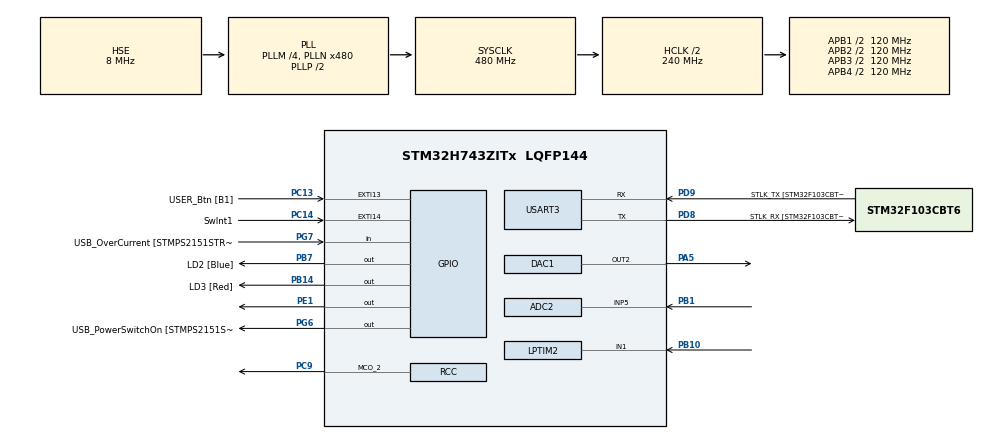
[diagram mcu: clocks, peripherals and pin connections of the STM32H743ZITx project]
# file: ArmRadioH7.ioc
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ADC1.Channel-4\#ChannelRegularConversion=ADC_CHANNEL_5
ADC1.ClockPrescaler=ADC_CLOCK_ASYNC_DIV2
ADC1.ContinuousConvMode=ENABLE
ADC1.ConversionDataManagement=ADC_CONVERSIONDATA_DMA_CIRCULAR
ADC1.DMAAccessModeView=ENABLE
ADC1.EnableRegularConversion=ENABLE
ADC1.Mode=ADC_DUALMODE_INTERL
ADC1.NbrOfConversionFlag=1
ADC1.OffsetNumber-4\#ChannelRegularConversion=ADC_OFFSET_NONE
ADC1.Overrun=ADC_OVR_DATA_OVERWRITTEN
ADC1.Rank-4\#ChannelRegularConversion=1
ADC1.Resolution=ADC_RESOLUTION_12B
ADC1.SamplingTime-4\#ChannelRegularConversion=ADC_SAMPLETIME_1CYCLE_5
ADC1.TwoSamplingDelay=ADC_TWOSAMPLINGDELAY_2CYCLES
ADC1.master=1
ADC2.Channel-4\#ChannelRegularConversion=ADC_CHANNEL_5
ADC2.ClockPrescaler=ADC_CLOCK_ASYNC_DIV2
ADC2.ConversionDataManagement=ADC_CONVERSIONDATA_DR
ADC2.DMAAccessModeView=ENABLE
ADC2.EnableRegularConversion=ENABLE
ADC2.Mode=ADC_DUALMODE_INTERL
ADC2.NbrOfConversionFlag=1
ADC2.OffsetNumber-4\#ChannelRegularConversion=ADC_OFFSET_NONE
ADC2.Overrun=ADC_OVR_DATA_PRESERVED
ADC2.Rank-4\#ChannelRegularConversion=1
ADC2.Resolution=ADC_RESOLUTION_12B
ADC2.SamplingTime-4\#ChannelRegularConversion=ADC_SAMPLETIME_1CYCLE_5
ADC2.TwoSamplingDelay=ADC_TWOSAMPLINGDELAY_2CYCLES
CORTEX_M7.CPU_DCache=Disabled
CORTEX_M7.CPU_ICache=Disabled
DAC1.DAC_Channel-DAC_OUT2=DAC_CHANNEL_2
DAC1.DAC_Trigger-DAC_OUT2=DAC_TRIGGER_T6_TRGO
Dma.ADC1.1.Direction=DMA_PERIPH_TO_MEMORY
Dma.ADC1.1.EventEnable=DISABLE
Dma.ADC1.1.FIFOMode=DMA_FIFOMODE_DISABLE
Dma.ADC1.1.Instance=DMA1_Stream0
Dma.ADC1.1.MemDataAlignment=DMA_MDATAALIGN_WORD
Dma.ADC1.1.MemInc=DMA_MINC_ENABLE
Dma.ADC1.1.Mode=DMA_CIRCULAR
Dma.ADC1.1.PeriphDataAlignment=DMA_PDATAALIGN_WORD
Dma.ADC1.1.PeriphInc=DMA_PINC_DISABLE
Dma.ADC1.1.Polarity=HAL_DMAMUX_REQ_GEN_RISING
Dma.ADC1.1.Priority=DMA_PRIORITY_HIGH
Dma.ADC1.1.RequestNumber=1
Dma.ADC1.1.SignalID=NONE
Dma.ADC1.1.SyncEnable=DISABLE
Dma.ADC1.1.SyncPolarity=HAL_DMAMUX_SYNC_NO_EVENT
Dma.ADC1.1.SyncRequestNumber=1
Dma.ADC1.1.SyncSignalID=NONE
Dma.DAC1_CH2.0.Direction=DMA_MEMORY_TO_PERIPH
Dma.DAC1_CH2.0.EventEnable=DISABLE
Dma.DAC1_CH2.0.FIFOMode=DMA_FIFOMODE_DISABLE
Dma.DAC1_CH2.0.Instance=DMA1_Stream1
Dma.DAC1_CH2.0.MemDataAlignment=DMA_MDATAALIGN_HALFWORD
Dma.DAC1_CH2.0.MemInc=DMA_MINC_ENABLE
Dma.DAC1_CH2.0.Mode=DMA_CIRCULAR
Dma.DAC1_CH2.0.PeriphDataAlignment=DMA_PDATAALIGN_HALFWORD
Dma.DAC1_CH2.0.PeriphInc=DMA_PINC_DISABLE
Dma.DAC1_CH2.0.Polarity=HAL_DMAMUX_REQ_GEN_RISING
Dma.DAC1_CH2.0.Priority=DMA_PRIORITY_LOW
Dma.DAC1_CH2.0.RequestNumber=1
Dma.DAC1_CH2.0.SignalID=NONE
Dma.DAC1_CH2.0.SyncEnable=DISABLE
Dma.DAC1_CH2.0.SyncPolarity=HAL_DMAMUX_SYNC_NO_EVENT
Dma.DAC1_CH2.0.SyncRequestNumber=1
Dma.DAC1_CH2.0.SyncSignalID=NONE
Dma.Request0=DAC1_CH2
Dma.Request1=ADC1
Mcu.Family=STM32H7
Mcu.Name=STM32H743ZITx
Mcu.Package=LQFP144
NVIC.DMA1_Stream0_IRQn=true\:0\:0\:false\:false\:true\:false\:true
NVIC.DMA1_Stream1_IRQn=true\:2\:0\:true\:false\:true\:false\:true
NVIC.EXTI15_10_IRQn=true\:4\:0\:true\:false\:true\:true\:true
NVIC.PriorityGroup=NVIC_PRIORITYGROUP_4
NVIC.TIM6_DAC_IRQn=true\:1\:0\:true\:false\:true\:true\:true
NVIC.USART3_IRQn=true\:1\:0\:true\:false\:true\:true\:true
PA1.GPIO_Label=RMII_REF_CLK
PA1.Signal=ETH_REF_CLK
PA10.GPIO_Label=USB_ID
PA10.Signal=USB_OTG_FS_ID
PA11.GPIO_Label=USB_DM
PA11.Signal=USB_OTG_FS_DM
PA12.GPIO_Label=USB_DP
PA12.Signal=USB_OTG_FS_DP
PA2.GPIO_Label=RMII_MDIO
PA2.Signal=ETH_MDIO
PA5.Signal=COMP_DAC12_group
PA7.GPIO_Label=RMII_CRS_DV
PA7.Signal=ETH_CRS_DV
PA8.GPIO_Label=USB_SOF [TP1]
PA8.Signal=USB_OTG_FS_SOF
PA9.GPIO_Label=USB_VBUS
PA9.Signal=USB_OTG_FS_VBUS
PB1.Signal=ADCx_INP5
PB10.Mode=Counts_external_clock_with_synchro_01_occur1
PB10.Signal=LPTIM2_IN1
PB13.GPIO_Label=RMII_TXD1
PB13.Signal=ETH_TXD1
PB14.GPIO_Label=LD3 [Red]
PB14.Signal=GPIO_Output
PB7.GPIO_Label=LD2 [Blue]
PB7.Signal=GPIO_Output
PC1.GPIO_Label=RMII_MDC
PC1.Signal=ETH_MDC
PC13.GPIO_Label=USER_Btn [B1]
PC13.Signal=GPXTI13
PC14-OSC32_IN\ (OSC32_IN).GPIO_Label=SwInt1
PC14-OSC32_IN\ (OSC32_IN).GPIO_PuPd=GPIO_PULLUP
PC14-OSC32_IN\ (OSC32_IN).Signal=GPXTI14
PC4.GPIO_Label=RMII_RXD0
PC4.Signal=ETH_RXD0
PC5.GPIO_Label=RMII_RXD1
PC5.Signal=ETH_RXD1
PC9.GPIO_Speed=GPIO_SPEED_FREQ_LOW
PC9.Mode=Clock-out-2
PC9.Signal=RCC_MCO_2
PD8.GPIO_Label=STLK_RX [STM32F103CBT6_PA3]
PD8.Mode=Asynchronous
PD8.Signal=USART3_TX
PD9.GPIO_Label=STLK_TX [STM32F103CBT6_PA2]
PD9.Mode=Asynchronous
PD9.Signal=USART3_RX
PE1.Signal=GPIO_Output
PE15.Signal=GPXTI15
PE8.Signal=OPAMP2_VINM0
PG11.GPIO_Label=RMII_TX_EN
PG11.Signal=ETH_TX_EN
PG13.GPIO_Label=RMII_TXD0
PG13.Signal=ETH_TXD0
PG6.GPIO_Label=USB_PowerSwitchOn [STMPS2151STR_EN]
PG6.Signal=GPIO_Output
PG7.GPIO_Label=USB_OverCurrent [STMPS2151STR_FAULT]
PG7.Signal=GPIO_Input
PH0-OSC_IN\ (PH0).GPIO_Label=MCO
PH0-OSC_IN\ (PH0).Mode=HSE-External-Oscillator
PH0-OSC_IN\ (PH0).Signal=RCC_OSC_IN
PH1-OSC_OUT\ (PH1).Mode=HSE-External-Oscillator
PH1-OSC_OUT\ (PH1).Signal=RCC_OSC_OUT
ProjectManager.HeapSize=0x200
ProjectManager.StackSize=0x400
ProjectManager.TargetToolchain=STM32CubeIDE
RCC.48MHZClocksFreq_Value=24000000
RCC.ADCCLockSelection=RCC_ADCCLKSOURCE_PLL3
RCC.ADCFreq_Value=240000000
RCC.AHBFreq_Value=216000000
RCC.APB1CLKDivider=RCC_HCLK_DIV4
RCC.APB1Freq_Value=120000000
RCC.APB1TimFreq_Value=108000000
RCC.APB2CLKDivider=RCC_HCLK_DIV2
RCC.APB2Freq_Value=120000000
RCC.APB2TimFreq_Value=216000000
RCC.APB3Freq_Value=120000000
RCC.APB4Freq_Value=120000000
RCC.CortexFreq_Value=480000000
RCC.D1PPRE=RCC_APB3_DIV2
RCC.D2PPRE1=RCC_APB1_DIV2
RCC.D2PPRE2=RCC_APB2_DIV2
RCC.D3PPRE=RCC_APB4_DIV2
RCC.DIVM1=4
RCC.DIVM2=4
RCC.DIVM3=4
RCC.DIVN1=480
RCC.DIVN2=240
RCC.DIVN3=240
RCC.DIVP2=16
RCC.DIVQ1=4
RCC.HCLKFreq_Value=240000000
RCC.HPRE=RCC_HCLK_DIV2
RCC.HSE_VALUE=8000000
RCC.HSI_VALUE=64000000
RCC.LPTIM2CLockSelection=RCC_LPTIM2CLKSOURCE_PLL2
RCC.PLL2FRACN=2000
RCC.PLL3FRACN=0
RCC.PLLFRACN=0
RCC.PLLM=25
RCC.PLLMUL=RCC_PLL_MUL9
RCC.PLLN=432
RCC.PLLQ=9
RCC.PLLSourceVirtual=RCC_PLLSOURCE_HSE
RCC.PRESCALERUSB=RCC_USBCLKSOURCE_PLL_DIV1_5
RCC.PWR_Regulator_Voltage_Scale=PWR_REGULATOR_VOLTAGE_SCALE0
RCC.RCC_MCO2Source=RCC_MCO2SOURCE_PLL2PCLK
RCC.RCC_MCODiv2=RCC_MCODIV_10
RCC.SYSCLKFreq_VALUE=480000000
RCC.SYSCLKSource=RCC_SYSCLKSOURCE_PLLCLK
RCC.SYSCLKSourceVirtual=RCC_SYSCLKSOURCE_PLLCLK
RCC.USBFreq_Value=240000000
RCC.VCOOutputFreq_Value=432000000
SH.ADCx_INP5.0=ADC2_INP5,IN5-Single-Ended
SH.ADCx_INP5.1=ADC1_INP5,IN5-Single-Ended
SH.COMP_DAC12_group.0=DAC1_OUT2,DAC_OUT2
TIM6.AutoReloadPreload=TIM_AUTORELOAD_PRELOAD_ENABLE
TIM6.Period=8191
TIM6.Prescaler=0
TIM6.TIM_MasterOutputTrigger=TIM_TRGO_UPDATE
USART3.DMADisableonRxErrorParam=ADVFEATURE_DMA_ENABLEONRXERROR
USART3.FIFOMode=FIFOMODE_DISABLE
USART3.OverrunDisableParam=ADVFEATURE_OVERRUN_ENABLE
USART3.VirtualMode-Asynchronous=VM_ASYNC
VP_TIM6_VS_ClockSourceINT.Mode=Enable_Timer
board=NUCLEO-H743ZI

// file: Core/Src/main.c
/* USER CODE BEGIN Header */
/**
 *******************************************************************************

                   main.c module of the program ARM_Radio

                                                  Copyright 2015 by Alberto I2PHD, June 2015

    This file is part of ARM_Radio.

    ARM_Radio is free software: you can redistribute it and/or modify
    it under the terms of the GNU General Public License as published by
    the Free Software Foundation, either version 3 of the License, or
    (at your option) any later version.

    ARM_Radio is distributed in the hope that it will be useful,
    but WITHOUT ANY WARRANTY; without even the implied warranty of
    MERCHANTABILITY or FITNESS FOR A PARTICULAR PURPOSE.  See the
    GNU General Public License for more details.

    You should have received a copy of the GNU General Public License
    along with ARM_Radio.  It is contained in the file Copying.txt in the
    same ZIP file where this file was extracted from.

 *******************************************************************************
 ******************************************************************************
 * @file           : main.c
 * @brief          : Main program body
 ******************************************************************************
 * @attention
 *
 * <h2><center>&copy; Copyright (c) 2020 STMicroelectronics.
 * All rights reserved.</center></h2>
 *
 * This software component is licensed by ST under BSD 3-Clause license,
 * the "License"; You may not use this file except in compliance with the
 * License. You may obtain a copy of the License at:
 *                        opensource.org/licenses/BSD-3-Clause
 *
 ******************************************************************************
  FAQ about cache https://community.st.com/s/article/FAQ-DMA-is-not-working-on-STM32H7-devices
  FPU performance https://community.arm.com/developer/ip-products/processors/f/cortex-m-forum/5567/what-is-the-advantage-of-floating-point-of-cm7-versus-cm4
  CIC filter decomposition: https://www.embedded.com/reducing-power-consumption-in-cic-filter-algorithm-designs/
  NCO https://www.embedded.com/configuring-a-well-behaved-digital-quadrature-oscillator/
  DMA, Cache https://hackaday.io/project/117555-network-analyzer-on-an-stm32h7/details
  FFT Filters https://www.danvillesignal.com/images/pdfs/compdsp_Borgerding_FFT_slides2.pdf http://dsp-book.narod.ru/DSPMW/08.PDF
  Measuring inductance https://daycounter.com/Articles/How-To-Measure-Inductance.phtml
  RF Filters https://rf-tools.com/lc-filter/

  MCO2 output is pin PC9, CN8 pin 4.
 */

#define IN_MAIN

/* USER CODE END Header */

#include "main.h"

/* USER CODE BEGIN Includes */
#include "stdio.h"
#include "Globals.h"
#include "FIRcoefs.h"

/* USER CODE END Includes */

/* USER CODE BEGIN PM */

/**
 * @brief  Computation of ADC master conversion result
 *         from ADC dual mode conversion result (ADC master and ADC slave
 *         results concatenated on data register of ADC master).
 * @param  DATA: ADC dual mode conversion result
 * @retval None
 */
#define COMPUTATION_DUALMODEINTERLEAVED_ADCMASTER_RESULT(DATA)                 \
		((DATA) & 0x0000FFFF)

/**
 * @brief  Computation of ADC slave conversion result
 *         from ADC dual mode conversion result (ADC master and ADC slave
 *         results concatenated on data register of ADC master).
 * @param  DATA: ADC dual mode conversion result
 * @retval None
 */
#define COMPUTATION_DUALMODEINTERLEAVED_ADCSLAVE_RESULT(DATA)                  \
		((DATA) >> 16)

/* USER CODE END PM */

ADC_HandleTypeDef hadc1;
ADC_HandleTypeDef hadc2;
DMA_HandleTypeDef hdma_adc1;

DAC_HandleTypeDef hdac1;
DMA_HandleTypeDef hdma_dac1_ch2;

LPTIM_HandleTypeDef hlptim2;

TIM_HandleTypeDef htim6;

UART_HandleTypeDef huart3;

/* USER CODE BEGIN PV */

/* Variable containing ADC conversions results */
ALIGN_32BYTES(__IO uint32_t   aADCDualConvertedValues[BSIZE]);    /* ADC dual mode interleaved conversion results (ADC master and ADC slave results concatenated on data register 32 bits of ADC master). */
ALIGN_32BYTES(__IO uint16_t   aADCxConvertedValues[BSIZE]);       /* For the purpose of this example, dispatch dual conversion values into arrays corresponding to each ADC conversion values. */
ALIGN_32BYTES(__IO uint16_t   aADCyConvertedValues[BSIZE]);       /* For the purpose of this example, dispatch dual conversion values into arrays corresponding to each ADC conversion values. */
ALIGN_32BYTES(__IO short AudioOut[BSIZE*2]);			  // A single array because we are using the half/full complete irq to switch between the two halves

uint8_t         ubADCDualConversionComplete = RESET;                        /* Set into ADC conversion complete callback */

const uint16_t sine_wave_array[32] = {2047, 1648, 1264, 910, 600,  345,
		156, 39,  0,  39,  156,  345,
		600, 910, 1264, 1648, 2048, 2447,
		2831, 3185, 3495, 3750, 3939, 4056,
		4095, 4056, 3939, 3750, 3495, 3185,
		2831, 2447};

char UartTXString[256];
char UartRXString[256];
__IO ITStatus UartRXDataReady = RESET;
__IO ITStatus UartTXFinished = RESET;
/* USER CODE END PV */

void SystemClock_Config(void);
static void MX_GPIO_Init(void);
static void MX_DMA_Init(void);
static void MX_ADC1_Init(void);
static void MX_ADC2_Init(void);
static void MX_DAC1_Init(void);
static void MX_TIM6_Init(void);
static void MX_USART3_UART_Init(void);
static void MX_LPTIM2_Init(void);

int main(void)
{

  /* MCU Configuration--------------------------------------------------------*/

  /* Reset of all peripherals, Initializes the Flash interface and the Systick. */
  HAL_Init();

  /* USER CODE BEGIN Init */
	//We use our clock init function and we prevent the use of the STM32Cube tool generated one. Not possible to overclock with it.
#ifdef EXECUTE_CUBE_CLOCK_INIT
  /* USER CODE END Init */

  /* Configure the system clock */
  SystemClock_Config();

  /* USER CODE BEGIN SysInit */
#endif

	/* Enable I-Cache---------------------------------------------------------*/
	SCB_EnableICache();

	/* Enable D-Cache---------------------------------------------------------*/
#ifdef USE_DCACHE
	SCB_EnableDCache();
#endif

	// Don't forget to set a different SamplingRate in main.c
	SystemClock_Config_For_OC();

  /* USER CODE END SysInit */

  /* Initialize all configured peripherals */
  MX_GPIO_Init();
  MX_DMA_Init();
  MX_ADC1_Init();
  MX_ADC2_Init();
  MX_DAC1_Init();
  MX_TIM6_Init();
  MX_USART3_UART_Init();
  MX_LPTIM2_Init();
  /* USER CODE BEGIN 2 */
	// Initialise again so we can change divider with a #define in main.h
	MX_TIM6_Init_Custom_Rate();

	/* Run the ADC calibration in single-ended mode */
	if (HAL_ADCEx_Calibration_Start(&hadc1, ADC_CALIB_OFFSET, ADC_SINGLE_ENDED) != HAL_OK)
	{
		/* Calibration Error */
		Error_Handler();
	}

	if (HAL_ADCEx_Calibration_Start(&hadc2, ADC_CALIB_OFFSET, ADC_SINGLE_ENDED) != HAL_OK)
	{
		/* Calibration Error */
		Error_Handler();
	}

	volume= 0.1;

	// Set now the default values for some variables
	SetFstep(2);
	cwpitch = CWPITCH;
	os_time = 0;
	meanavg = 0.f;
	Qfactor = 0.987f;         // Q factor for the CW peak filter
	Muted   = false;
	AMindex  = LSBindex = 1;
	USBindex = CWindex  = 1;
	bw[AM]   = bw[LSB]  = Wide;
	bw[USB]  = bw[CW]   = Wide;
	agc[AM]  = agc[LSB] = Slow;
	agc[USB] = Slow;
	agc[CW]  = Fast;
	AGC_decay[Fast] = 0.9995f;
	AGC_decay[Slow] = 0.99995f;
	Hangcount[Fast] = 2;
	Hangcount[Slow] = 30;
	AgcThreshold    = 1.92e-4f;

#ifdef CLK_600M_CPU_150M_ADC
	SamplingRate = ((150000000) / 4) * 2 / 8.f;//ADC Clock /async div * 2 ADC channels /8 cycles for 12 bit ADC
#endif
#ifdef CLK_500M_CPU_120M_ADC
	SamplingRate = ((120000000) / 4) * 2 / 8.f;//ADC Clock /async div * 2 ADC channels /8 cycles for 12 bit ADC
#endif
#ifdef CLK_500M_CPU_128M_ADC
	SamplingRate = ((128000000) / 4) * 2 / 8.f;//ADC Clock /async div * 2 ADC channels /8 cycles for 12 bit ADC
#endif
#ifdef CLK_480M_CPU_120M_ADC
	SamplingRate = ((120000000) / 4) * 2 / 8.f;//ADC Clock /async div * 2 ADC channels /8 cycles for 12 bit ADC
#endif
#ifdef CLK_600M_CPU_60M_ADC
	SamplingRate = ((60000000) / 4) * 2 / 8.f;//ADC Clock /async div * 2 ADC channels /8 cycles for 12 bit ADC
#endif
#ifdef CLK_600M_CPU_160M_ADC
	SamplingRate = ((160000000) / 4) * 2 / 8.f;//ADC Clock /async div * 2 ADC channels /8 cycles for 12 bit ADC
#endif

	SamplingRate = SamplingRate * 4000000.f / 3999300.f; // Correct Xtal error

	AudioRate = SamplingRate / 4 /16.f / 4.f; //First decimation was 16, now is 64
	SDR_compute_IIR_parms();  // compute the IIR parms for the CW peak filter

	// init the decimating FIR control blocks
	arc = arm_fir_decimate_init_f32(&SfirR, NUMFIRCOEFS, 4, FIRcoefs, FIRstate1R, BSIZE*4);
	while(arc != ARM_MATH_SUCCESS)
	{};   // spin loop if error
	arc = arm_fir_decimate_init_f32(&SfirI, NUMFIRCOEFS, 4, FIRcoefs, FIRstate1I, BSIZE*4);
	while(arc != ARM_MATH_SUCCESS)
	{};   // spin loop if error

	Load_Presets();
	Tune_Preset(1);      // Set the initial tuning to Preset 1

	DisplayStatus();    // Display status, it would not be shown until a user input was given
	if (HAL_ADCEx_MultiModeStart_DMA(&hadc1,
			(uint32_t *)aADCDualConvertedValues,
			BSIZE   //Source code says transfer size is in bytes, but it is in number of transfers
	) != HAL_OK)
	{
		/* Start Error */
		Error_Handler();
	}

	///////////////
	HAL_TIM_Base_Start(&htim6);
	HAL_DAC_Start(&hdac1, DAC_CHANNEL_2);
	HAL_DAC_Start_DMA(&hdac1, DAC_CHANNEL_2, (uint32_t*)AudioOut, BSIZE * 2, DAC_ALIGN_12B_R);
	///////

/*		 __HAL_RCC_PLL2_DISABLE();
		__HAL_RCC_PLL2_CONFIG(4, 144, 24, 2, 2);
		 __HAL_RCC_PLL2_ENABLE();
		 __HAL_RCC_PLL2FRACN_CONFIG(1013); // 0-8191, can be issued at any time
*/
  /* USER CODE END 2 */

  /* Infinite loop */
  /* USER CODE BEGIN WHILE */
		 SetFOut(11000000);

	while (1)
	{
    /* USER CODE END WHILE */

    /* USER CODE BEGIN 3 */
		/* Turn-on/off LED1 in function of ADC conversion result */
		/*  - Turn-off if ADC conversions buffer is not complete */
		/*  - Turn-on if ADC conversions buffer is complete */

		/* ADC conversion buffer complete variable is updated into ADC conversions*/
		/* complete callback.*/

		UserInput();
		//	  HAL_Delay(10);
		if (ubADCDualConversionComplete == RESET)
		{
			//	    	HAL_GPIO_WritePin(GPIOB, GPIO_PIN_7, GPIO_PIN_SET);
		}
		else
		{
			//	    	HAL_GPIO_WritePin(GPIOB, GPIO_PIN_7, GPIO_PIN_RESET);
		}

	}
  /* USER CODE END 3 */
}

void SystemClock_Config(void)
{
  RCC_OscInitTypeDef RCC_OscInitStruct = {0};
  RCC_ClkInitTypeDef RCC_ClkInitStruct = {0};
  RCC_PeriphCLKInitTypeDef PeriphClkInitStruct = {0};

  /** Supply configuration update enable
  */
  HAL_PWREx_ConfigSupply(PWR_LDO_SUPPLY);
  /** Configure the main internal regulator output voltage
  */
  __HAL_PWR_VOLTAGESCALING_CONFIG(PWR_REGULATOR_VOLTAGE_SCALE0);

  while(!__HAL_PWR_GET_FLAG(PWR_FLAG_VOSRDY)) {}
  /** Macro to configure the PLL clock source
  */
  __HAL_RCC_PLL_PLLSOURCE_CONFIG(RCC_PLLSOURCE_HSE);
  /** Initializes the CPU, AHB and APB busses clocks
  */
  RCC_OscInitStruct.OscillatorType = RCC_OSCILLATORTYPE_HSE;
  RCC_OscInitStruct.HSEState = RCC_HSE_ON;
  RCC_OscInitStruct.PLL.PLLState = RCC_PLL_ON;
  RCC_OscInitStruct.PLL.PLLSource = RCC_PLLSOURCE_HSE;
  RCC_OscInitStruct.PLL.PLLM = 4;
  RCC_OscInitStruct.PLL.PLLN = 480;
  RCC_OscInitStruct.PLL.PLLP = 2;
  RCC_OscInitStruct.PLL.PLLQ = 4;
  RCC_OscInitStruct.PLL.PLLR = 2;
  RCC_OscInitStruct.PLL.PLLRGE = RCC_PLL1VCIRANGE_1;
  RCC_OscInitStruct.PLL.PLLVCOSEL = RCC_PLL1VCOWIDE;
  RCC_OscInitStruct.PLL.PLLFRACN = 0;
  if (HAL_RCC_OscConfig(&RCC_OscInitStruct) != HAL_OK)
  {
    Error_Handler();
  }
  /** Initializes the CPU, AHB and APB busses clocks
  */
  RCC_ClkInitStruct.ClockType = RCC_CLOCKTYPE_HCLK|RCC_CLOCKTYPE_SYSCLK
                              |RCC_CLOCKTYPE_PCLK1|RCC_CLOCKTYPE_PCLK2
                              |RCC_CLOCKTYPE_D3PCLK1|RCC_CLOCKTYPE_D1PCLK1;
  RCC_ClkInitStruct.SYSCLKSource = RCC_SYSCLKSOURCE_PLLCLK;
  RCC_ClkInitStruct.SYSCLKDivider = RCC_SYSCLK_DIV1;
  RCC_ClkInitStruct.AHBCLKDivider = RCC_HCLK_DIV2;
  RCC_ClkInitStruct.APB3CLKDivider = RCC_APB3_DIV2;
  RCC_ClkInitStruct.APB1CLKDivider = RCC_APB1_DIV2;
  RCC_ClkInitStruct.APB2CLKDivider = RCC_APB2_DIV2;
  RCC_ClkInitStruct.APB4CLKDivider = RCC_APB4_DIV2;

  if (HAL_RCC_ClockConfig(&RCC_ClkInitStruct, FLASH_LATENCY_4) != HAL_OK)
  {
    Error_Handler();
  }
  PeriphClkInitStruct.PeriphClockSelection = RCC_PERIPHCLK_USART3|RCC_PERIPHCLK_LPTIM2
                              |RCC_PERIPHCLK_ADC;
  PeriphClkInitStruct.PLL2.PLL2M = 4;
  PeriphClkInitStruct.PLL2.PLL2N = 240;
  PeriphClkInitStruct.PLL2.PLL2P = 16;
  PeriphClkInitStruct.PLL2.PLL2Q = 2;
  PeriphClkInitStruct.PLL2.PLL2R = 2;
  PeriphClkInitStruct.PLL2.PLL2RGE = RCC_PLL2VCIRANGE_1;
  PeriphClkInitStruct.PLL2.PLL2VCOSEL = RCC_PLL2VCOWIDE;
  PeriphClkInitStruct.PLL2.PLL2FRACN = 2000;
  PeriphClkInitStruct.PLL3.PLL3M = 4;
  PeriphClkInitStruct.PLL3.PLL3N = 240;
  PeriphClkInitStruct.PLL3.PLL3P = 2;
  PeriphClkInitStruct.PLL3.PLL3Q = 2;
  PeriphClkInitStruct.PLL3.PLL3R = 2;
  PeriphClkInitStruct.PLL3.PLL3RGE = RCC_PLL3VCIRANGE_1;
  PeriphClkInitStruct.PLL3.PLL3VCOSEL = RCC_PLL3VCOWIDE;
  PeriphClkInitStruct.PLL3.PLL3FRACN = 0;
  PeriphClkInitStruct.Usart234578ClockSelection = RCC_USART234578CLKSOURCE_D2PCLK1;
  PeriphClkInitStruct.Lptim2ClockSelection = RCC_LPTIM2CLKSOURCE_PLL2;
  PeriphClkInitStruct.AdcClockSelection = RCC_ADCCLKSOURCE_PLL3;
  if (HAL_RCCEx_PeriphCLKConfig(&PeriphClkInitStruct) != HAL_OK)
  {
    Error_Handler();
  }
  HAL_RCC_MCOConfig(RCC_MCO2, RCC_MCO2SOURCE_PLL2PCLK, RCC_MCODIV_10);
}

static void MX_ADC1_Init(void)
{

  ADC_MultiModeTypeDef multimode = {0};
  ADC_ChannelConfTypeDef sConfig = {0};

  /** Common config
  */
  hadc1.Instance = ADC1;
  hadc1.Init.ClockPrescaler = ADC_CLOCK_ASYNC_DIV2;
  hadc1.Init.Resolution = ADC_RESOLUTION_12B;
  hadc1.Init.ScanConvMode = ADC_SCAN_DISABLE;
  hadc1.Init.EOCSelection = ADC_EOC_SINGLE_CONV;
  hadc1.Init.LowPowerAutoWait = DISABLE;
  hadc1.Init.ContinuousConvMode = ENABLE;
  hadc1.Init.NbrOfConversion = 1;
  hadc1.Init.DiscontinuousConvMode = DISABLE;
  hadc1.Init.ExternalTrigConv = ADC_SOFTWARE_START;
  hadc1.Init.ExternalTrigConvEdge = ADC_EXTERNALTRIGCONVEDGE_NONE;
  hadc1.Init.ConversionDataManagement = ADC_CONVERSIONDATA_DMA_CIRCULAR;
  hadc1.Init.Overrun = ADC_OVR_DATA_OVERWRITTEN;
  hadc1.Init.LeftBitShift = ADC_LEFTBITSHIFT_NONE;
  hadc1.Init.OversamplingMode = DISABLE;
  if (HAL_ADC_Init(&hadc1) != HAL_OK)
  {
    Error_Handler();
  }
  /** Configure the ADC multi-mode
  */
  multimode.Mode = ADC_DUALMODE_INTERL;
  multimode.DualModeData = ADC_DUALMODEDATAFORMAT_32_10_BITS;
  multimode.TwoSamplingDelay = ADC_TWOSAMPLINGDELAY_2CYCLES;
  if (HAL_ADCEx_MultiModeConfigChannel(&hadc1, &multimode) != HAL_OK)
  {
    Error_Handler();
  }
  /** Configure Regular Channel
  */
  sConfig.Channel = ADC_CHANNEL_5;
  sConfig.Rank = ADC_REGULAR_RANK_1;
  sConfig.SamplingTime = ADC_SAMPLETIME_1CYCLE_5;
  sConfig.SingleDiff = ADC_SINGLE_ENDED;
  sConfig.OffsetNumber = ADC_OFFSET_NONE;
  sConfig.Offset = 0;
  if (HAL_ADC_ConfigChannel(&hadc1, &sConfig) != HAL_OK)
  {
    Error_Handler();
  }

}

static void MX_ADC2_Init(void)
{

  ADC_ChannelConfTypeDef sConfig = {0};

  /** Common config
  */
  hadc2.Instance = ADC2;
  hadc2.Init.ClockPrescaler = ADC_CLOCK_ASYNC_DIV2;
  hadc2.Init.Resolution = ADC_RESOLUTION_12B;
  hadc2.Init.ScanConvMode = ADC_SCAN_DISABLE;
  hadc2.Init.EOCSelection = ADC_EOC_SINGLE_CONV;
  hadc2.Init.LowPowerAutoWait = DISABLE;
  hadc2.Init.ContinuousConvMode = ENABLE;
  hadc2.Init.NbrOfConversion = 1;
  hadc2.Init.DiscontinuousConvMode = DISABLE;
  hadc2.Init.ConversionDataManagement = ADC_CONVERSIONDATA_DR;
  hadc2.Init.Overrun = ADC_OVR_DATA_PRESERVED;
  hadc2.Init.LeftBitShift = ADC_LEFTBITSHIFT_NONE;
  hadc2.Init.OversamplingMode = DISABLE;
  if (HAL_ADC_Init(&hadc2) != HAL_OK)
  {
    Error_Handler();
  }
  /** Configure Regular Channel
  */
  sConfig.Channel = ADC_CHANNEL_5;
  sConfig.Rank = ADC_REGULAR_RANK_1;
  sConfig.SamplingTime = ADC_SAMPLETIME_1CYCLE_5;
  sConfig.SingleDiff = ADC_SINGLE_ENDED;
  sConfig.OffsetNumber = ADC_OFFSET_NONE;
  sConfig.Offset = 0;
  if (HAL_ADC_ConfigChannel(&hadc2, &sConfig) != HAL_OK)
  {
    Error_Handler();
  }

}

static void MX_DAC1_Init(void)
{

  DAC_ChannelConfTypeDef sConfig = {0};

  /** DAC Initialization
  */
  hdac1.Instance = DAC1;
  if (HAL_DAC_Init(&hdac1) != HAL_OK)
  {
    Error_Handler();
  }
  /** DAC channel OUT2 config
  */
  sConfig.DAC_SampleAndHold = DAC_SAMPLEANDHOLD_DISABLE;
  sConfig.DAC_Trigger = DAC_TRIGGER_T6_TRGO;
  sConfig.DAC_OutputBuffer = DAC_OUTPUTBUFFER_ENABLE;
  sConfig.DAC_ConnectOnChipPeripheral = DAC_CHIPCONNECT_DISABLE;
  sConfig.DAC_UserTrimming = DAC_TRIMMING_FACTORY;
  if (HAL_DAC_ConfigChannel(&hdac1, &sConfig, DAC_CHANNEL_2) != HAL_OK)
  {
    Error_Handler();
  }

}

static void MX_LPTIM2_Init(void)
{

  hlptim2.Instance = LPTIM2;
  hlptim2.Init.Clock.Source = LPTIM_CLOCKSOURCE_APBCLOCK_LPOSC;
  hlptim2.Init.Clock.Prescaler = LPTIM_PRESCALER_DIV1;
  hlptim2.Init.UltraLowPowerClock.Polarity = LPTIM_CLOCKPOLARITY_RISING;
  hlptim2.Init.UltraLowPowerClock.SampleTime = LPTIM_CLOCKSAMPLETIME_DIRECTTRANSITION;
  hlptim2.Init.Trigger.Source = LPTIM_TRIGSOURCE_SOFTWARE;
  hlptim2.Init.OutputPolarity = LPTIM_OUTPUTPOLARITY_HIGH;
  hlptim2.Init.UpdateMode = LPTIM_UPDATE_IMMEDIATE;
  hlptim2.Init.CounterSource = LPTIM_COUNTERSOURCE_EXTERNAL;
  hlptim2.Init.Input1Source = LPTIM_INPUT1SOURCE_GPIO;
  hlptim2.Init.Input2Source = LPTIM_INPUT2SOURCE_GPIO;
  if (HAL_LPTIM_Init(&hlptim2) != HAL_OK)
  {
    Error_Handler();
  }

}

static void MX_TIM6_Init(void)
{

  TIM_MasterConfigTypeDef sMasterConfig = {0};

  htim6.Instance = TIM6;
  htim6.Init.Prescaler = 0;
  htim6.Init.CounterMode = TIM_COUNTERMODE_UP;
  htim6.Init.Period = 8191;
  htim6.Init.AutoReloadPreload = TIM_AUTORELOAD_PRELOAD_ENABLE;
  if (HAL_TIM_Base_Init(&htim6) != HAL_OK)
  {
    Error_Handler();
  }
  sMasterConfig.MasterOutputTrigger = TIM_TRGO_UPDATE;
  sMasterConfig.MasterSlaveMode = TIM_MASTERSLAVEMODE_DISABLE;
  if (HAL_TIMEx_MasterConfigSynchronization(&htim6, &sMasterConfig) != HAL_OK)
  {
    Error_Handler();
  }

}

static void MX_USART3_UART_Init(void)
{

  huart3.Instance = USART3;
  huart3.Init.BaudRate = 115200;
  huart3.Init.WordLength = UART_WORDLENGTH_8B;
  huart3.Init.StopBits = UART_STOPBITS_1;
  huart3.Init.Parity = UART_PARITY_NONE;
  huart3.Init.Mode = UART_MODE_TX_RX;
  huart3.Init.HwFlowCtl = UART_HWCONTROL_NONE;
  huart3.Init.OverSampling = UART_OVERSAMPLING_16;
  huart3.Init.OneBitSampling = UART_ONE_BIT_SAMPLE_DISABLE;
  huart3.Init.ClockPrescaler = UART_PRESCALER_DIV1;
  huart3.AdvancedInit.AdvFeatureInit = UART_ADVFEATURE_NO_INIT;
  if (HAL_UART_Init(&huart3) != HAL_OK)
  {
    Error_Handler();
  }
  if (HAL_UARTEx_SetTxFifoThreshold(&huart3, UART_TXFIFO_THRESHOLD_1_8) != HAL_OK)
  {
    Error_Handler();
  }
  if (HAL_UARTEx_SetRxFifoThreshold(&huart3, UART_RXFIFO_THRESHOLD_1_8) != HAL_OK)
  {
    Error_Handler();
  }
  if (HAL_UARTEx_DisableFifoMode(&huart3) != HAL_OK)
  {
    Error_Handler();
  }

}

static void MX_DMA_Init(void)
{

  /* DMA controller clock enable */
  __HAL_RCC_DMA1_CLK_ENABLE();

  /* DMA interrupt init */
  /* DMA1_Stream0_IRQn interrupt configuration */
  HAL_NVIC_SetPriority(DMA1_Stream0_IRQn, 0, 0);
  HAL_NVIC_EnableIRQ(DMA1_Stream0_IRQn);
  /* DMA1_Stream1_IRQn interrupt configuration */
  HAL_NVIC_SetPriority(DMA1_Stream1_IRQn, 2, 0);
  HAL_NVIC_EnableIRQ(DMA1_Stream1_IRQn);

}

static void MX_GPIO_Init(void)
{
  GPIO_InitTypeDef GPIO_InitStruct = {0};

  /* GPIO Ports Clock Enable */
  __HAL_RCC_GPIOC_CLK_ENABLE();
  __HAL_RCC_GPIOH_CLK_ENABLE();
  __HAL_RCC_GPIOA_CLK_ENABLE();
  __HAL_RCC_GPIOB_CLK_ENABLE();
  __HAL_RCC_GPIOE_CLK_ENABLE();
  __HAL_RCC_GPIOD_CLK_ENABLE();
  __HAL_RCC_GPIOG_CLK_ENABLE();

  /*Configure GPIO pin Output Level */
  HAL_GPIO_WritePin(GPIOB, LD3_Pin|LD2_Pin, GPIO_PIN_RESET);

  /*Configure GPIO pin Output Level */
  HAL_GPIO_WritePin(USB_PowerSwitchOn_GPIO_Port, USB_PowerSwitchOn_Pin, GPIO_PIN_RESET);

  /*Configure GPIO pin Output Level */
  HAL_GPIO_WritePin(GPIOE, GPIO_PIN_1, GPIO_PIN_RESET);

  /*Configure GPIO pin : USER_Btn_Pin */
  GPIO_InitStruct.Pin = USER_Btn_Pin;
  GPIO_InitStruct.Mode = GPIO_MODE_IT_RISING;
  GPIO_InitStruct.Pull = GPIO_NOPULL;
  HAL_GPIO_Init(USER_Btn_GPIO_Port, &GPIO_InitStruct);

  /*Configure GPIO pin : SwInt1_Pin */
  GPIO_InitStruct.Pin = SwInt1_Pin;
  GPIO_InitStruct.Mode = GPIO_MODE_IT_RISING;
  GPIO_InitStruct.Pull = GPIO_PULLUP;
  HAL_GPIO_Init(SwInt1_GPIO_Port, &GPIO_InitStruct);

  /*Configure GPIO pins : RMII_MDC_Pin RMII_RXD0_Pin RMII_RXD1_Pin */
  GPIO_InitStruct.Pin = RMII_MDC_Pin|RMII_RXD0_Pin|RMII_RXD1_Pin;
  GPIO_InitStruct.Mode = GPIO_MODE_AF_PP;
  GPIO_InitStruct.Pull = GPIO_NOPULL;
  GPIO_InitStruct.Speed = GPIO_SPEED_FREQ_LOW;
  GPIO_InitStruct.Alternate = GPIO_AF11_ETH;
  HAL_GPIO_Init(GPIOC, &GPIO_InitStruct);

  /*Configure GPIO pins : RMII_REF_CLK_Pin RMII_MDIO_Pin RMII_CRS_DV_Pin */
  GPIO_InitStruct.Pin = RMII_REF_CLK_Pin|RMII_MDIO_Pin|RMII_CRS_DV_Pin;
  GPIO_InitStruct.Mode = GPIO_MODE_AF_PP;
  GPIO_InitStruct.Pull = GPIO_NOPULL;
  GPIO_InitStruct.Speed = GPIO_SPEED_FREQ_LOW;
  GPIO_InitStruct.Alternate = GPIO_AF11_ETH;
  HAL_GPIO_Init(GPIOA, &GPIO_InitStruct);

  /*Configure GPIO pin : PE8 */
  GPIO_InitStruct.Pin = GPIO_PIN_8;
  GPIO_InitStruct.Mode = GPIO_MODE_ANALOG;
  GPIO_InitStruct.Pull = GPIO_NOPULL;
  HAL_GPIO_Init(GPIOE, &GPIO_InitStruct);

  /*Configure GPIO pin : PE15 */
  GPIO_InitStruct.Pin = GPIO_PIN_15;
  GPIO_InitStruct.Mode = GPIO_MODE_IT_RISING;
  GPIO_InitStruct.Pull = GPIO_NOPULL;
  HAL_GPIO_Init(GPIOE, &GPIO_InitStruct);

  /*Configure GPIO pin : RMII_TXD1_Pin */
  GPIO_InitStruct.Pin = RMII_TXD1_Pin;
  GPIO_InitStruct.Mode = GPIO_MODE_AF_PP;
  GPIO_InitStruct.Pull = GPIO_NOPULL;
  GPIO_InitStruct.Speed = GPIO_SPEED_FREQ_LOW;
  GPIO_InitStruct.Alternate = GPIO_AF11_ETH;
  HAL_GPIO_Init(RMII_TXD1_GPIO_Port, &GPIO_InitStruct);

  /*Configure GPIO pins : LD3_Pin LD2_Pin */
  GPIO_InitStruct.Pin = LD3_Pin|LD2_Pin;
  GPIO_InitStruct.Mode = GPIO_MODE_OUTPUT_PP;
  GPIO_InitStruct.Pull = GPIO_NOPULL;
  GPIO_InitStruct.Speed = GPIO_SPEED_FREQ_LOW;
  HAL_GPIO_Init(GPIOB, &GPIO_InitStruct);

  /*Configure GPIO pin : USB_PowerSwitchOn_Pin */
  GPIO_InitStruct.Pin = USB_PowerSwitchOn_Pin;
  GPIO_InitStruct.Mode = GPIO_MODE_OUTPUT_PP;
  GPIO_InitStruct.Pull = GPIO_NOPULL;
  GPIO_InitStruct.Speed = GPIO_SPEED_FREQ_LOW;
  HAL_GPIO_Init(USB_PowerSwitchOn_GPIO_Port, &GPIO_InitStruct);

  /*Configure GPIO pin : USB_OverCurrent_Pin */
  GPIO_InitStruct.Pin = USB_OverCurrent_Pin;
  GPIO_InitStruct.Mode = GPIO_MODE_INPUT;
  GPIO_InitStruct.Pull = GPIO_NOPULL;
  HAL_GPIO_Init(USB_OverCurrent_GPIO_Port, &GPIO_InitStruct);

  /*Configure GPIO pin : PC9 */
  GPIO_InitStruct.Pin = GPIO_PIN_9;
  GPIO_InitStruct.Mode = GPIO_MODE_AF_PP;
  GPIO_InitStruct.Pull = GPIO_NOPULL;
  GPIO_InitStruct.Speed = GPIO_SPEED_FREQ_VERY_HIGH;
  GPIO_InitStruct.Alternate = GPIO_AF0_MCO;
  HAL_GPIO_Init(GPIOC, &GPIO_InitStruct);

  /*Configure GPIO pins : USB_SOF_Pin USB_ID_Pin USB_DM_Pin USB_DP_Pin */
  GPIO_InitStruct.Pin = USB_SOF_Pin|USB_ID_Pin|USB_DM_Pin|USB_DP_Pin;
  GPIO_InitStruct.Mode = GPIO_MODE_AF_PP;
  GPIO_InitStruct.Pull = GPIO_NOPULL;
  GPIO_InitStruct.Speed = GPIO_SPEED_FREQ_LOW;
  GPIO_InitStruct.Alternate = GPIO_AF10_OTG1_FS;
  HAL_GPIO_Init(GPIOA, &GPIO_InitStruct);

  /*Configure GPIO pins : RMII_TX_EN_Pin RMII_TXD0_Pin */
  GPIO_InitStruct.Pin = RMII_TX_EN_Pin|RMII_TXD0_Pin;
  GPIO_InitStruct.Mode = GPIO_MODE_AF_PP;
  GPIO_InitStruct.Pull = GPIO_NOPULL;
  GPIO_InitStruct.Speed = GPIO_SPEED_FREQ_LOW;
  GPIO_InitStruct.Alternate = GPIO_AF11_ETH;
  HAL_GPIO_Init(GPIOG, &GPIO_InitStruct);

  /*Configure GPIO pin : PE1 */
  GPIO_InitStruct.Pin = GPIO_PIN_1;
  GPIO_InitStruct.Mode = GPIO_MODE_OUTPUT_PP;
  GPIO_InitStruct.Pull = GPIO_NOPULL;
  GPIO_InitStruct.Speed = GPIO_SPEED_FREQ_LOW;
  HAL_GPIO_Init(GPIOE, &GPIO_InitStruct);

  /* EXTI interrupt init*/
  HAL_NVIC_SetPriority(EXTI15_10_IRQn, 4, 0);
  HAL_NVIC_EnableIRQ(EXTI15_10_IRQn);

}

/* USER CODE BEGIN 4 */

/**
 * @brief  Conversion complete callback in non blocking mode
 * @param  AdcHandle : ADC handle

 */
void HAL_ADC_ConvCpltCallback(ADC_HandleTypeDef *AdcHandle)
{
	/* Invalidate Data Cache to get the updated content of the SRAM on the second half of the ADC converted data buffer: 32 bytes */
#ifdef USE_DCACHE
	SCB_InvalidateDCache_by_Addr((uint32_t *) &aADCDualConvertedValues[BSIZE/2], 4*BSIZE/2);
#endif
	ADC_Stream0_Handler(1);
	/* Set variable to report DMA transfer status to main program */
	ubADCDualConversionComplete = SET;
}

/**
 * @brief  Conversion DMA half-transfer callback in non blocking mode
 * @param  hadc: ADC handle
 * */

void HAL_ADC_ConvHalfCpltCallback(ADC_HandleTypeDef* hadc)
{
	/* Invalidate Data Cache to get the updated content of the SRAM on the first half of the ADC converted data buffer: 32 bytes */
#ifdef USE_DCACHE
	SCB_InvalidateDCache_by_Addr((uint32_t *) &aADCDualConvertedValues[0], 4*BSIZE/2);
#endif
	ADC_Stream0_Handler(0);
	/* Reset variable to report DMA transfer status to main program */
	ubADCDualConversionComplete = RESET;
}

void HAL_DACEx_ConvCpltCallbackCh2(DAC_HandleTypeDef *hdac)
{
	ValidAudioHalf = &AudioOut[BSIZE];
	LED_RED_ON;

	//	 __HAL_RCC_PLL2_DISABLE();
	//	__HAL_RCC_PLL2_CONFIG(4, 240, 16, 2, 2);
	//	 __HAL_RCC_PLL2_ENABLE();

}

void HAL_DACEx_ConvHalfCpltCallbackCh2(DAC_HandleTypeDef *hdac)
{
	ValidAudioHalf = &AudioOut[0];
	LED_RED_OFF;
	//	 __HAL_RCC_PLL2_DISABLE();
	//	 __HAL_RCC_PLL2_CONFIG(4, 120, 16, 2, 2);
	//	 __HAL_RCC_PLL2_ENABLE();
}

void SystemClock_Config_For_OC(void)

{
	/* MCO2 is not correctly initialized by CubeMX if LPTIM or another peripheral is not enabled with the
	* clock from the same PLL as MCO2.
	*/

	RCC_OscInitTypeDef RCC_OscInitStruct = {0};
	RCC_ClkInitTypeDef RCC_ClkInitStruct = {0};
	RCC_PeriphCLKInitTypeDef PeriphClkInitStruct = {0};

	/** Supply configuration update enable
	 */
	HAL_PWREx_ConfigSupply(PWR_LDO_SUPPLY);
	/** Configure the main internal regulator output voltage
	 */
	__HAL_PWR_VOLTAGESCALING_CONFIG(PWR_REGULATOR_VOLTAGE_SCALE0);

	while(!__HAL_PWR_GET_FLAG(PWR_FLAG_VOSRDY)) {}
	/** Macro to configure the PLL clock source
	 */
	__HAL_RCC_PLL_PLLSOURCE_CONFIG(RCC_PLLSOURCE_HSE);
	/** Initializes the CPU, AHB and APB busses clocks
	 */

	RCC_OscInitStruct.OscillatorType = RCC_OSCILLATORTYPE_HSE;
	RCC_OscInitStruct.HSEState = RCC_HSE_ON;
	RCC_OscInitStruct.PLL.PLLState = RCC_PLL_ON;
	RCC_OscInitStruct.PLL.PLLSource = RCC_PLLSOURCE_HSE;
	RCC_OscInitStruct.PLL.PLLM = 4;
	RCC_OscInitStruct.PLL.PLLN = 480;
	RCC_OscInitStruct.PLL.PLLP = 2;
	RCC_OscInitStruct.PLL.PLLQ = 4;
	RCC_OscInitStruct.PLL.PLLR = 2;
	RCC_OscInitStruct.PLL.PLLRGE = RCC_PLL1VCIRANGE_1;
	RCC_OscInitStruct.PLL.PLLVCOSEL = RCC_PLL1VCOWIDE;
	RCC_OscInitStruct.PLL.PLLFRACN = 0;

#ifdef USE_EXTERNAL_OSCILLATOR
	RCC_OscInitStruct.HSEState = RCC_HSE_BYPASS; // External clock on pin 29 CN 11 (PF0/PH0)
#else
	RCC_OscInitStruct.OscillatorType = RCC_OSCILLATORTYPE_HSE;
#endif
	RCC_OscInitStruct.HSEState = RCC_HSE_ON; //Xtal oscillator
	RCC_OscInitStruct.PLL.PLLState = RCC_PLL_ON;
	RCC_OscInitStruct.PLL.PLLSource = RCC_PLLSOURCE_HSE;
	RCC_OscInitStruct.PLL.PLLM = 2;
#ifdef CLK_600M_CPU_150M_ADC
	RCC_OscInitStruct.PLL.PLLN = 300;
#endif
#ifdef CLK_500M_CPU_120M_ADC
	RCC_OscInitStruct.PLL.PLLN = 250;
#endif
#ifdef CLK_500M_CPU_128M_ADC
	RCC_OscInitStruct.PLL.PLLN = 250;
#endif
#ifdef CLK_480M_CPU_120M_ADC
	RCC_OscInitStruct.PLL.PLLN = 240;
#endif
#ifdef CLK_600M_CPU_60M_ADC
	RCC_OscInitStruct.PLL.PLLN = 300;
#endif
#ifdef CLK_600M_CPU_160M_ADC
	RCC_OscInitStruct.PLL.PLLN = 300;
#endif
	RCC_OscInitStruct.PLL.PLLP = 2;
	RCC_OscInitStruct.PLL.PLLQ = 4;
	RCC_OscInitStruct.PLL.PLLR = 2;
	RCC_OscInitStruct.PLL.PLLRGE = RCC_PLL1VCIRANGE_1;
	RCC_OscInitStruct.PLL.PLLVCOSEL = RCC_PLL1VCOWIDE;
	RCC_OscInitStruct.PLL.PLLFRACN = 0;
	if (HAL_RCC_OscConfig(&RCC_OscInitStruct) != HAL_OK)
	{
		Error_Handler();
	}
	/** Initializes the CPU, AHB and APB busses clocks
	 */
	RCC_ClkInitStruct.ClockType = RCC_CLOCKTYPE_HCLK|RCC_CLOCKTYPE_SYSCLK
			|RCC_CLOCKTYPE_PCLK1|RCC_CLOCKTYPE_PCLK2
			|RCC_CLOCKTYPE_D3PCLK1|RCC_CLOCKTYPE_D1PCLK1;
	RCC_ClkInitStruct.SYSCLKSource = RCC_SYSCLKSOURCE_PLLCLK;
	RCC_ClkInitStruct.SYSCLKDivider = RCC_SYSCLK_DIV1;
	RCC_ClkInitStruct.AHBCLKDivider = RCC_HCLK_DIV2;
	RCC_ClkInitStruct.APB3CLKDivider = RCC_APB3_DIV2;
	RCC_ClkInitStruct.APB1CLKDivider = RCC_APB1_DIV2;
	RCC_ClkInitStruct.APB2CLKDivider = RCC_APB2_DIV2;
	RCC_ClkInitStruct.APB4CLKDivider = RCC_APB4_DIV2;

	if (HAL_RCC_ClockConfig(&RCC_ClkInitStruct, FLASH_LATENCY_4) != HAL_OK)
	{
		Error_Handler();
	}
	  PeriphClkInitStruct.PeriphClockSelection = RCC_PERIPHCLK_USART3|RCC_PERIPHCLK_LPTIM2
	                              |RCC_PERIPHCLK_ADC;
	PeriphClkInitStruct.PLL3.PLL3M = 4;
#ifdef CLK_600M_CPU_150M_ADC
	PeriphClkInitStruct.PLL3.PLL3N = 300;
#endif
#ifdef CLK_500M_CPU_120M_ADC
	PeriphClkInitStruct.PLL3.PLL3N = 240;
#endif
#ifdef CLK_500M_CPU_128M_ADC
	PeriphClkInitStruct.PLL3.PLL3N = 256;
#endif
#ifdef CLK_480M_CPU_120M_ADC
	PeriphClkInitStruct.PLL3.PLL3N = 120;
#endif
#ifdef CLK_600M_CPU_60M_ADC
	PeriphClkInitStruct.PLL3.PLL3N = 120;
#endif
#ifdef CLK_600M_CPU_160M_ADC
	PeriphClkInitStruct.PLL3.PLL3N = 320;
#endif
	PeriphClkInitStruct.PLL2.PLL2M = 4;
	PeriphClkInitStruct.PLL2.PLL2N = 240;
	PeriphClkInitStruct.PLL2.PLL2P = 16;
	PeriphClkInitStruct.PLL2.PLL2Q = 2;
	PeriphClkInitStruct.PLL2.PLL2R = 2;
	PeriphClkInitStruct.PLL2.PLL2RGE = RCC_PLL2VCIRANGE_1;
	PeriphClkInitStruct.PLL2.PLL2VCOSEL = RCC_PLL2VCOWIDE;
	PeriphClkInitStruct.PLL2.PLL2FRACN = 6000;
	PeriphClkInitStruct.PLL3.PLL3M = 4;
//	PeriphClkInitStruct.PLL3.PLL3N = 240;
	PeriphClkInitStruct.PLL3.PLL3P = 2;
	PeriphClkInitStruct.PLL3.PLL3Q = 2;
	PeriphClkInitStruct.PLL3.PLL3R = 4;
	PeriphClkInitStruct.PLL3.PLL3RGE = RCC_PLL3VCIRANGE_1;
	PeriphClkInitStruct.PLL3.PLL3VCOSEL = RCC_PLL3VCOWIDE;
	PeriphClkInitStruct.PLL3.PLL3FRACN = 0;
	PeriphClkInitStruct.Usart234578ClockSelection = RCC_USART234578CLKSOURCE_D2PCLK1;

	 PeriphClkInitStruct.Lptim2ClockSelection = RCC_LPTIM2CLKSOURCE_PLL2;
	 PeriphClkInitStruct.AdcClockSelection = RCC_ADCCLKSOURCE_PLL3;

	if (HAL_RCCEx_PeriphCLKConfig(&PeriphClkInitStruct) != HAL_OK)
	{
		Error_Handler();
	}

	HAL_RCC_MCOConfig(RCC_MCO2, RCC_MCO2SOURCE_PLL2PCLK, RCC_MCODIV_1);

//	  HAL_RCC_MCOConfig(RCC_MCO2, RCC_MCO2SOURCE_HSE, RCC_MCODIV_3);
//	  HAL_RCC_MCOConfig(RCC_MCO2, RCC_MCO2SOURCE_SYSCLK, RCC_MCODIV_10);
}

void UserInput(void)
{
	volatile HAL_StatusTypeDef result;
	float SValue;

	__HAL_UART_SEND_REQ (&huart3, UART_RXDATA_FLUSH_REQUEST);
	__HAL_UART_CLEAR_OREFLAG (&huart3);
	//result = (HAL_UART_Receive(&huart3, (uint8_t *) UartRXString, 1, 1 )) ;
	result = (HAL_UART_Receive_IT(&huart3, (uint8_t *) UartRXString, 1 )) ;

	if (result == HAL_OK)
	{
		UartRXDataReady = RESET;
		switch (UartRXString[0])
		{
		case 49: //1
			FminusClicked(); break;
		case 50: //2
			FplusClicked(); break;
		case 51: //3
			SetFstep(5);  break;
		case 52: //4
			SetFstep(4);  break;
		case 53: //5
			SetFstep(3);  break;
		case 54: //6
			SetFstep(2);  break;
		case 55: //7
			SetFstep(1); break;
		case 56: //8
			SetFstep(0); break;
		case 108: //L
			SetMode((Mode)LSB); break;
		case 117: //U
			SetMode((Mode)USB); break;
		case 97: //A
			SetMode((Mode)AM); break;
		case 99: //C
			SetMode((Mode)CW); break;
		case 102: //F
			SetAGC((Agctype)Fast);  break;
		case 115: //S
			SetAGC((Agctype)Slow);  break;
		case 110: //N
			SetBW((Bwidth)Narrow);  break;
		case 119: //W
			SetBW((Bwidth)Wide);  break;
		case 45: //-
			volume -= 0.1;
			if (volume < 0)
				volume = 0;
			break;
		case 43: //+
			volume += 0.1;
			if (volume > 1.0)
				volume = 1.0;
			break;
		}

		DisplayStatus();
	}

	SValue = 10 / 3.01 * log10(PeakAudioValue * 2000.0);
	sprintf((char*)UartTXString, "S %-4.1f\r", SValue);
	HAL_UART_Transmit(&huart3, (uint8_t *) UartTXString, strlen(UartTXString), 100);
}

void DisplayStatus(void)
{
	static char StringMode[8];
	static char StringWidth[8];
	static char StringAGC[8];
	static char StringStep[8];

	switch(Fstep)
	{
	case 1: strcpy(StringStep,"   1"); break;
	case 10: strcpy(StringStep,"  10"); break;
	case 100: strcpy(StringStep," 100"); break;
	case 1000: strcpy(StringStep,"  1K"); break;
	case 10000: strcpy(StringStep," 10K"); break;
	case 100000: strcpy(StringStep,"100K"); break;
	}

	switch(CurrentMode)
	{
	case LSB: strcpy(StringMode,"LSB"); break;
	case USB: strcpy(StringMode,"USB"); break;
	case AM: strcpy(StringMode,"AM"); break;
	case CW: strcpy(StringMode,"CW"); break;
	}
	switch (CurrentAGC)
	{
	case Fast: strcpy(StringAGC,"Fast"); break;
	case Slow: strcpy(StringAGC,"Slow"); break;
	}
	switch (CurrentBW)
	{
	case Narrow: strcpy(StringWidth,"Narrow"); break;
	case Wide: strcpy(StringWidth,"Wide"); break;
	}
	sprintf(UartTXString, "          Freq %.0f Step %s Mode %s BW %s AGG %s Volume %1.1f   \r", LOfreq, StringStep, StringMode, StringWidth, StringAGC, volume);
	HAL_UART_Transmit(&huart3, (uint8_t *) UartTXString, strlen(UartTXString), 100);
}

/**
 * @brief TIM6 Initialization Function
 * @param None
 * @retval None
 */
void MX_TIM6_Init_Custom_Rate(void)
{

	/* USER CODE BEGIN TIM6_Init 0 */

	/* USER CODE END TIM6_Init 0 */

	TIM_MasterConfigTypeDef sMasterConfig = {0};

	/* USER CODE BEGIN TIM6_Init 1 */

	/* USER CODE END TIM6_Init 1 */
	htim6.Instance = TIM6;
	htim6.Init.Prescaler = 0;
	htim6.Init.CounterMode = TIM_COUNTERMODE_UP;

#ifdef CLK_600M_CPU_150M_ADC
	htim6.Init.Period = 8191;
#endif
#ifdef CLK_500M_CPU_120M_ADC
	htim6.Init.Period = 8541;
#endif
#ifdef CLK_500M_CPU_128M_ADC
	htim6.Init.Period = 7999;
#endif
#ifdef CLK_480M_CPU_120M_ADC
	htim6.Init.Period = 8191;
#endif
#ifdef CLK_600M_CPU_60M_ADC
	htim6.Init.Period = 20479;
#endif
#ifdef CLK_600M_CPU_160M_ADC
	htim6.Init.Period = 7679;
#endif
	htim6.Init.AutoReloadPreload = TIM_AUTORELOAD_PRELOAD_ENABLE;
	if (HAL_TIM_Base_Init(&htim6) != HAL_OK)
	{
		Error_Handler();
	}
	sMasterConfig.MasterOutputTrigger = TIM_TRGO_UPDATE;
	sMasterConfig.MasterSlaveMode = TIM_MASTERSLAVEMODE_DISABLE;
	if (HAL_TIMEx_MasterConfigSynchronization(&htim6, &sMasterConfig) != HAL_OK)
	{
		Error_Handler();
	}
	/* USER CODE BEGIN TIM6_Init 2 */

	/* USER CODE END TIM6_Init 2 */

}

/**
 * @brief  Rx Transfer completed callback
 * @param  UartHandle: UART handle
 * @note   This example shows a simple way to report end of DMA Rx transfer, and
 *         you can add your own implementation.
 * @retval None
 */
void HAL_UART_RxCpltCallback(UART_HandleTypeDef *UartHandle)
{

	/* Turn LED2 on: Transfer in reception process is correct */
	LED_RED_OFF;
}

void SetFOut(uint32_t FHz)
{
volatile uint32_t DivN2, FracN2;

/* FOut = FXtal * M / N / P / MCODIV
FXtal = 8 MHz

Local oscillator is 10.7 - 40.7 MHz

MCODIV = 1
M = 4
P = 24
MCODIV = 1
*/
	DivN2 = (((uint64_t)FHz * 24 * 4 * 0x2000) / (uint64_t)8000000) >> 13;
	FracN2 = (((uint64_t)FHz * 24 * 4* 0x2000) / (uint64_t)8000000) & 0x1FFF;

	__HAL_RCC_PLL2_DISABLE();
	__HAL_RCC_PLL2_CONFIG(4, DivN2, 24, 2, 2);
	 __HAL_RCC_PLL2_ENABLE();
	 __HAL_RCC_PLL2FRACN_CONFIG(FracN2); // 0-8191, can be issued at any time
}

/* USER CODE END 4 */

void Error_Handler(void)
{
  /* USER CODE BEGIN Error_Handler_Debug */
	/* User can add his own implementation to report the HAL error return state */

	while(1)
	{
		if((os_time % 50) == 0)  // blink fast the two leds in case of errors
			LED_switch();
	}
  /* USER CODE END Error_Handler_Debug */
}

/************************ (C) COPYRIGHT STMicroelectronics *****END OF FILE****/
